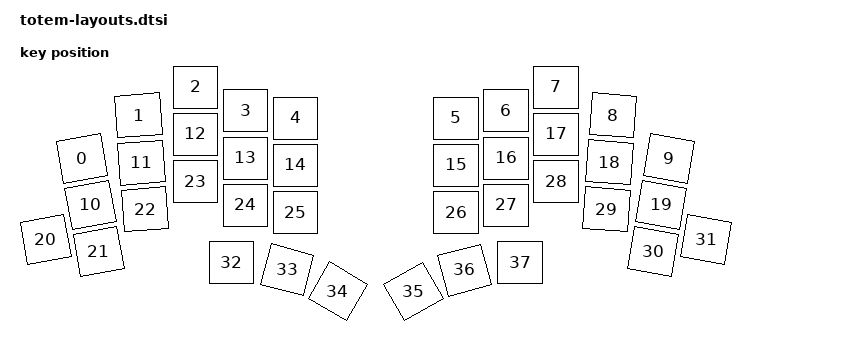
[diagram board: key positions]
/*
 * Copyright (c) 2026 The ZMK Contributors
 *
 * SPDX-License-Identifier: MIT
 */

// Key geometry taken from docs/images/TOTEM_layout.svg; the right half mirrors the left.

#include <physical_layouts.dtsi>

/ {
    totem_layout: totem_layout {
        compatible = "zmk,physical-layout";
        display-name = "TOTEM";

        keys  //                     w   h    x    y     rot    rx    ry
            = <&key_physical_attrs  97  92   93  163 (-1000)  142  209>
            , <&key_physical_attrs  97  92  206   77  (-400)  254  122>
            , <&key_physical_attrs  97  92  320   20       0  369   66>
            , <&key_physical_attrs  97  92  420   67       0  469  113>
            , <&key_physical_attrs  97  92  520   82       0  569  128>
            , <&key_physical_attrs  97  92  841   82       0  889  128>
            , <&key_physical_attrs  97  92  941   67       0  989  113>
            , <&key_physical_attrs  97  92 1041   20       0 1089   66>
            , <&key_physical_attrs  97  92 1155   77     400 1204  122>
            , <&key_physical_attrs  97  92 1267  163    1000 1316  209>
            , <&key_physical_attrs  97  92  110  256 (-1000)  158  302>
            , <&key_physical_attrs  97  92  212  171  (-400)  261  217>
            , <&key_physical_attrs  97  92  320  114       0  369  160>
            , <&key_physical_attrs  97  92  420  162       0  469  207>
            , <&key_physical_attrs  97  92  520  176       0  569  222>
            , <&key_physical_attrs  97  92  841  176       0  889  222>
            , <&key_physical_attrs  97  92  941  162       0  989  207>
            , <&key_physical_attrs  97  92 1041  114       0 1089  160>
            , <&key_physical_attrs  97  92 1148  171     400 1197  217>
            , <&key_physical_attrs  97  92 1251  256    1000 1300  302>
            , <&key_physical_attrs  97  92   20  325 (-1000)   69  371>
            , <&key_physical_attrs  97  92  126  349 (-1000)  175  395>
            , <&key_physical_attrs  97  92  219  265  (-400)  267  311>
            , <&key_physical_attrs  97  92  320  209       0  369  255>
            , <&key_physical_attrs  97  92  420  256       0  469  302>
            , <&key_physical_attrs  97  92  520  271       0  569  317>
            , <&key_physical_attrs  97  92  841  271       0  889  317>
            , <&key_physical_attrs  97  92  941  256       0  989  302>
            , <&key_physical_attrs  97  92 1041  209       0 1089  255>
            , <&key_physical_attrs  97  92 1142  265     400 1191  311>
            , <&key_physical_attrs  97  92 1235  349    1000 1283  395>
            , <&key_physical_attrs  97  92 1341  325    1000 1389  371>
            , <&key_physical_attrs  97  92  392  371       0  441  417>
            , <&key_physical_attrs  97  92  503  386    1500  552  432>
            , <&key_physical_attrs  97  92  605  429    3000  654  474>
            , <&key_physical_attrs  97  92  755  429 (-3000)  804  474>
            , <&key_physical_attrs  97  92  858  386 (-1500)  907  432>
            , <&key_physical_attrs  97  92  969  371       0 1017  417>
            ;
    };
};
